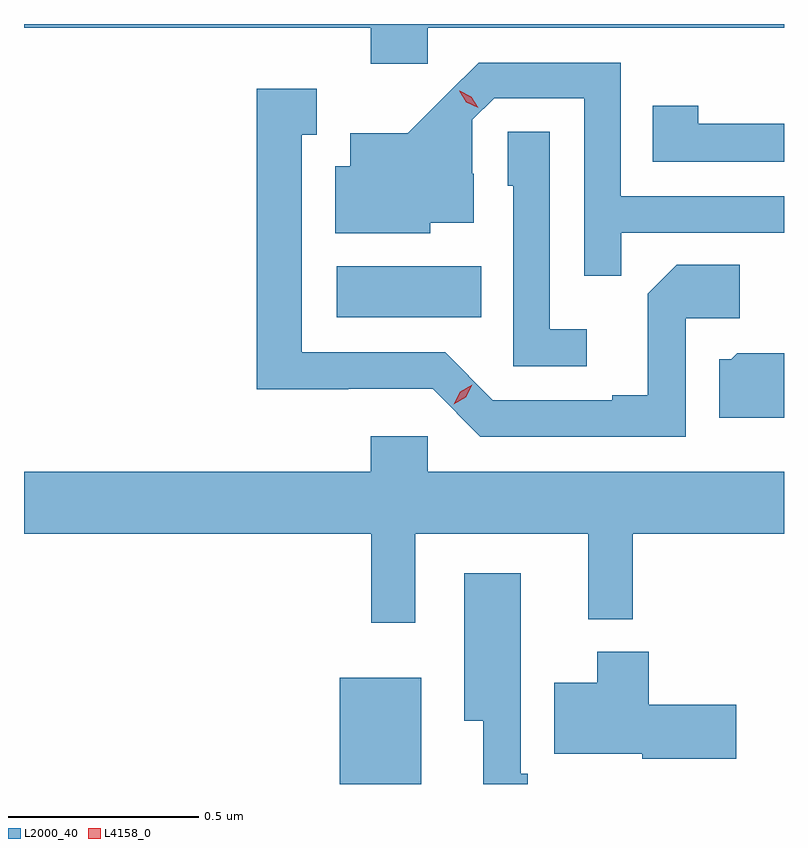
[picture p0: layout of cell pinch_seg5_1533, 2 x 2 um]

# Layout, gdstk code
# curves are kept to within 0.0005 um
import gdstk
lib = gdstk.Library(unit=1e-6, precision=1e-09)
def R(c, l, rs):  # rectangles x0, y0, x1, y1
    for r in rs: c.add(gdstk.rectangle(r[:2], r[2:], *l))
def P(c, l, *ps):  # polygons
    for p in ps: c.add(gdstk.Polygon(p, *l))
L2000_40 = (2000, 40)
L4158_0 = (4158, 0)

pinch_seg5_1533 = lib.new_cell('pinch_seg5_1533')
R(pinch_seg5_1533, L2000_40, [(142.268,890.734,142.483,891.013), (142.26,891.962,142.64,892.096)])
P(pinch_seg5_1533, L2000_40, [(142.5,892.724),(143.437,892.724),(143.437,892.734),(141.437,892.734),(141.437,892.724),(142.349,892.724),(142.349,892.629),(142.5,892.629)],
  [(143.009,892.185),(143.437,892.185),(143.437,892.281),(143.007,892.281),(143.007,892.632),(142.634,892.632),(142.447,892.447),(142.295,892.447),(142.295,892.36),(142.256,892.36),(142.256,892.184),(142.506,892.184),(142.506,892.211),(142.621,892.211),(142.621,892.34),(142.617,892.34),(142.617,892.482),(142.674,892.539),(142.911,892.539),(142.911,892.072),(143.009,892.072)],
  [(143.178,891.96),(143.32,891.96),(143.32,892.1),(143.155,892.1),(143.079,892.024),(143.079,891.757),(142.985,891.757),(142.985,891.744),(142.671,891.744),(142.545,891.87),(142.168,891.87),(142.168,892.443),(142.207,892.443),(142.207,892.564),(142.05,892.564),(142.05,891.773),(142.29,891.773),(142.29,891.774),(142.512,891.774),(142.638,891.648),(143.178,891.648)],
  [(143.437,892.472),(143.211,892.472),(143.211,892.519),(143.092,892.519),(143.092,892.371),(143.437,892.371)],
  [(142.918,891.931),(142.821,891.931),(142.821,892.451),(142.71,892.451),(142.71,892.308),(142.725,892.308),(142.725,891.834),(142.918,891.834)],
  [(143.437,891.868),(143.314,891.868),(143.298,891.852),(143.267,891.852),(143.267,891.698),(143.437,891.698)],
  [(142.467,891.392),(142.922,891.392),(142.922,891.167),(143.039,891.167),(143.039,891.392),(143.437,891.392),(143.437,891.556),(142.5,891.556),(142.5,891.649),(142.349,891.649),(142.349,891.556),(141.437,891.556),(141.437,891.392),(142.351,891.392),(142.351,891.159),(142.467,891.159)],
  [(142.763,890.761),(142.744,890.761),(142.744,891.289),(142.595,891.289),(142.595,890.9),(142.646,890.9),(142.646,890.734),(142.763,890.734)],
  [(143.311,890.943),(143.081,890.943),(143.081,891.082),(142.946,891.082),(142.946,891.001),(142.832,891.001),(142.832,890.813),(143.064,890.813),(143.064,890.801),(143.311,890.801)])
P(pinch_seg5_1533, L4158_0, [(142.632,892.513),(142.601,892.528),(142.583,892.558),(142.583,892.558),(142.584,892.558),(142.614,892.543),(142.632,892.513),(142.632,892.513)],
  [(142.568,891.733),(142.568,891.733),(142.585,891.766),(142.616,891.785),(142.617,891.785),(142.617,891.785),(142.6,891.752),(142.568,891.733)])

lib.write_gds('pinch_seg5_1533.gds')
